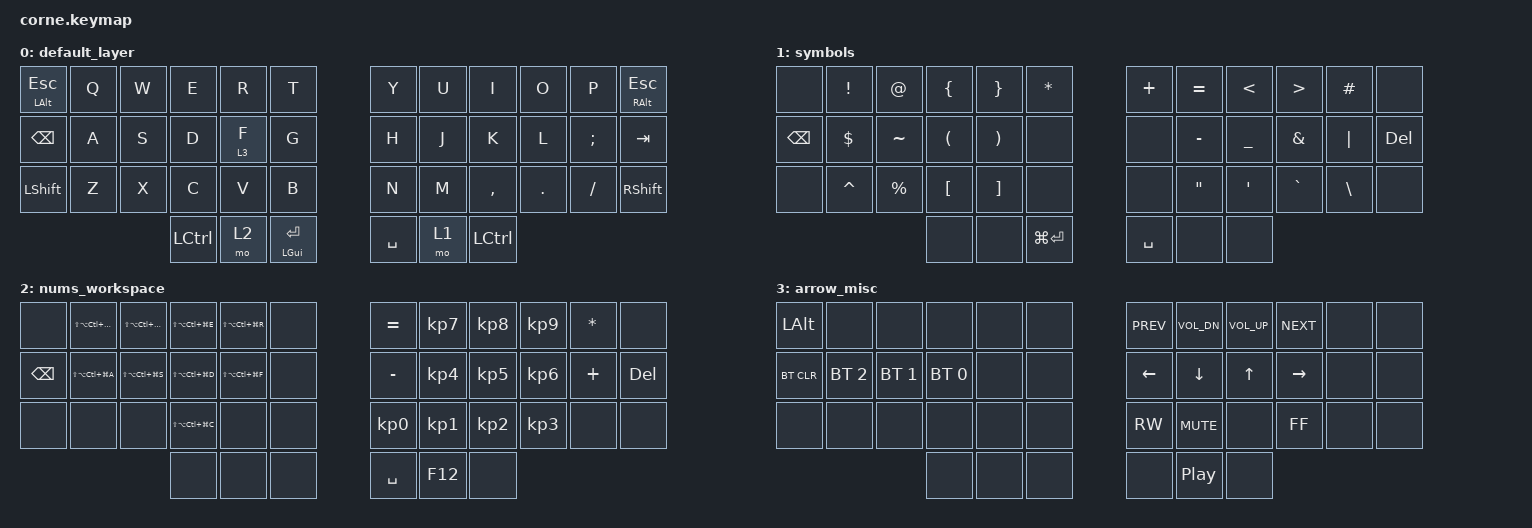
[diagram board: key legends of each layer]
/*
 * Copyright (c) 2020 The ZMK Contributors
 *
 * SPDX-License-Identifier: MIT
 */

#include <behaviors.dtsi>
#include <dt-bindings/zmk/keys.h>
#include <dt-bindings/zmk/bt.h>

/ {
        keymap {
                compatible = "zmk,keymap";

                default_layer {
                        bindings = <
  &mt LALT ESC &kp Q &kp W &kp E &kp R &kp T    &kp Y &kp U &kp I &kp O &kp P &mt RALT ESC
  &kp BSPC &kp A &kp S &kp D &lt 3 F &kp G   &kp H &kp J &kp K &kp L &kp SEMI &kp TAB
  &kp LSHFT &kp Z &kp X &kp C &kp V &kp B   &kp N &kp M &kp COMMA &kp DOT &kp FSLH &kp RSHFT
      &kp LCTRL &mo 2 &mt LGUI ENTER   &kp SPACE &mo 1 &kp LCTRL
                        >;
                };
                symbols {
                        bindings = <
  &none &kp EXCL &kp AT &kp LBRC &kp RBRC &kp ASTRK   &kp PLUS &kp EQUAL &kp LT &kp GT &kp HASH &none
  &kp BSPC &kp DLLR &kp TILDE &kp LPAR &kp RPAR &none   &none &kp MINUS &kp UNDER &kp AMPS &kp PIPE &kp DEL
  &none &kp CARET &kp PRCNT &kp LBKT &kp RBKT &none   &none &kp DQT &kp SQT &kp GRAVE &kp BSLH &none
      &none &none &kp LG(ENTER)   &kp SPACE &none &none
                        >;
                };
                nums_workspace {
                        bindings = <
  &none &kp LS(LA(LC(LG(Q)))) &kp LS(LA(LC(LG(W)))) &kp LS(LA(LC(LG(E)))) &kp LS(LA(LC(LG(R)))) &none   &kp EQUAL &kp KP_N7 &kp KP_N8 &kp KP_N9 &kp ASTRK &none
  &kp BSPC &kp LS(LA(LC(LG(A)))) &kp LS(LA(LC(LG(S)))) &kp LS(LA(LC(LG(D)))) &kp LS(LA(LC(LG(F)))) &none   &kp MINUS &kp KP_N4 &kp KP_N5 &kp KP_N6 &kp PLUS &kp DEL
  &none &none &none &kp LS(LA(LC(LG(C)))) &none &none   &kp KP_N0 &kp KP_N1 &kp KP_N2 &kp KP_N3 &none &none
      &none &none &none   &kp SPACE &kp F12 &none
                        >;
                };
                arrow_misc {
                        bindings = <
   &kp LALT &none &none &none &none &none   &kp C_PREV &kp C_VOL_DN &kp C_VOL_UP &kp C_NEXT &none &none 
   &bt BT_CLR &bt BT_SEL 2 &bt BT_SEL 1 &bt BT_SEL 0 &none &none   &kp LEFT &kp DOWN &kp UP &kp RIGHT &none &none
   &none &none &none &none &none &none   &kp C_RW &kp C_MUTE &none &kp C_FF &none &none
      &none &none &none   &none &kp C_PP &none 
                        >;
                };
        };
};
